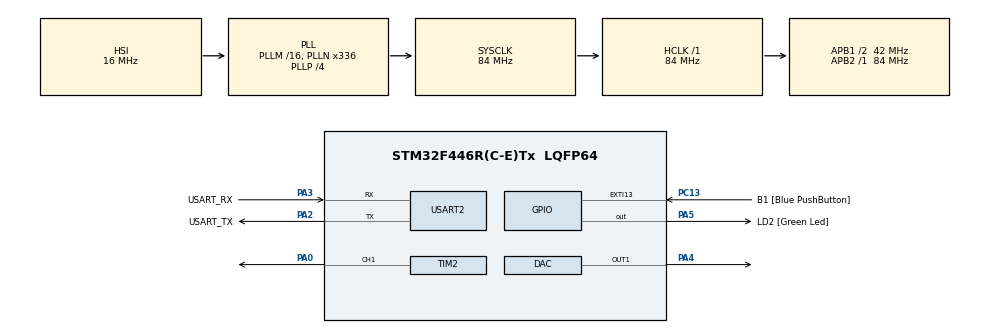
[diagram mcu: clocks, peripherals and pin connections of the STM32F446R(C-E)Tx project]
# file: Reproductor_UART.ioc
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DAC.DAC_Trigger=DAC_TRIGGER_T6_TRGO
Dma.DAC1.0.Direction=DMA_MEMORY_TO_PERIPH
Dma.DAC1.0.FIFOMode=DMA_FIFOMODE_DISABLE
Dma.DAC1.0.Instance=DMA1_Stream5
Dma.DAC1.0.MemDataAlignment=DMA_MDATAALIGN_HALFWORD
Dma.DAC1.0.MemInc=DMA_MINC_ENABLE
Dma.DAC1.0.Mode=DMA_CIRCULAR
Dma.DAC1.0.PeriphDataAlignment=DMA_PDATAALIGN_HALFWORD
Dma.DAC1.0.PeriphInc=DMA_PINC_DISABLE
Dma.DAC1.0.Priority=DMA_PRIORITY_LOW
Dma.Request0=DAC1
Mcu.Family=STM32F4
Mcu.Name=STM32F446R(C-E)Tx
Mcu.Package=LQFP64
NVIC.DMA1_Stream5_IRQn=true\:0\:0\:false\:false\:true\:false\:true\:true
NVIC.PriorityGroup=NVIC_PRIORITYGROUP_0
NVIC.USART2_IRQn=true\:0\:0\:false\:false\:true\:true\:true\:true
PA0-WKUP.Signal=S_TIM2_CH1_ETR
PA13.GPIO_Label=TMS
PA13.Mode=Serial_Wire
PA13.Signal=SYS_JTMS-SWDIO
PA14.GPIO_Label=TCK
PA14.Mode=Serial_Wire
PA14.Signal=SYS_JTCK-SWCLK
PA2.GPIO_Label=USART_TX
PA2.Mode=Asynchronous
PA2.Signal=USART2_TX
PA3.GPIO_Label=USART_RX
PA3.Mode=Asynchronous
PA3.Signal=USART2_RX
PA4.Signal=COMP_DAC1_group
PA5.GPIO_Label=LD2 [Green Led]
PA5.Signal=GPIO_Output
PB3.GPIO_Label=SWO
PB3.Signal=SYS_JTDO-SWO
PC13.GPIO_Label=B1 [Blue PushButton]
PC13.GPIO_ModeDefaultEXTI=GPIO_MODE_IT_FALLING
PC13.Signal=GPXTI13
PC14-OSC32_IN.Mode=LSE-External-Oscillator
PC14-OSC32_IN.Signal=RCC_OSC32_IN
PC15-OSC32_OUT.Mode=LSE-External-Oscillator
PC15-OSC32_OUT.Signal=RCC_OSC32_OUT
PH0-OSC_IN.Mode=HSE-External-Oscillator
PH0-OSC_IN.Signal=RCC_OSC_IN
PH1-OSC_OUT.Mode=HSE-External-Oscillator
PH1-OSC_OUT.Signal=RCC_OSC_OUT
ProjectManager.HeapSize=0x200
ProjectManager.StackSize=0x400
ProjectManager.TargetToolchain=STM32CubeIDE
RCC.48MHZClocksFreq_Value=84000000
RCC.AHBFreq_Value=84000000
RCC.APB1CLKDivider=RCC_HCLK_DIV2
RCC.APB1Freq_Value=42000000
RCC.APB1TimFreq_Value=84000000
RCC.APB2Freq_Value=84000000
RCC.APB2TimFreq_Value=84000000
RCC.CortexFreq_Value=84000000
RCC.FLatency-AdvancedSettings=FLASH_LATENCY_2
RCC.HCLKFreq_Value=84000000
RCC.HSE_VALUE=8000000
RCC.HSI_VALUE=16000000
RCC.PLLN=336
RCC.PLLP=RCC_PLLP_DIV4
RCC.SYSCLKFreq_VALUE=84000000
RCC.SYSCLKSource=RCC_SYSCLKSOURCE_PLLCLK
RCC.USBFreq_Value=168000000
RCC.VCOOutputFreq_Value=336000000
SH.COMP_DAC1_group.0=DAC_OUT1,DAC_OUT1
SH.S_TIM2_CH1_ETR.0=TIM2_CH1,PWM Generation1 CH1
TIM2.Channel-PWM\ Generation1\ CH1=TIM_CHANNEL_1
TIM2.Period=100-1
TIM2.Pulse-PWM\ Generation1\ CH1=50
TIM6.TIM_MasterOutputTrigger=TIM_TRGO_UPDATE
USART2.VirtualMode=VM_ASYNC
VP_TIM2_VS_ClockSourceINT.Mode=Internal
VP_TIM6_VS_ClockSourceINT.Mode=Enable_Timer
board=NUCLEO-F446RE

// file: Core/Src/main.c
/* USER CODE BEGIN Header */
/**
  ******************************************************************************
  * @file           : main.c
  * @brief          : Main program body
  ******************************************************************************
  * @attention
  *
  * Copyright (c) 2026 STMicroelectronics.
  * All rights reserved.
  *
  * This software is licensed under terms that can be found in the LICENSE file
  * in the root directory of this software component.
  * If no LICENSE file comes with this software, it is provided AS-IS.
  *
  ******************************************************************************
  */
/* USER CODE END Header */
#include "main.h"

/* USER CODE BEGIN Includes */
#include <stdio.h>
#include <string.h>
#include <stdint.h>
/* USER CODE END Includes */

/* USER CODE BEGIN PTD */
typedef struct
{
    uint32_t freq;
    uint32_t duration;
} Note_t;

typedef enum
{
    MODE_STOP = 0,
    MODE_PWM  = 1,
    MODE_DAC  = 2
} PlayerMode_t;
/* USER CODE END PTD */

/* USER CODE BEGIN PD */
#define NOTE_C4  262
#define NOTE_D4  294
#define NOTE_E4  330
#define NOTE_F4  349
#define NOTE_G4  392
#define NOTE_A4  440
#define NOTE_B4  494

#define NOTE_C5  523
#define NOTE_D5  587
#define NOTE_E5  659
#define NOTE_F5  698
#define NOTE_G5  784
#define NOTE_A5  880
#define NOTE_B5  988

#define REST              0
#define GAP_MS 5
#define DAC_SAMPLES       32
#define TIMER6_CLK_HZ     84000000UL   // con tu configuración actual
#define PWM_REPEATS       2
#define DAC_REPEATS       1
/* USER CODE END PD */

DAC_HandleTypeDef hdac;
DMA_HandleTypeDef hdma_dac1;

TIM_HandleTypeDef htim2;
TIM_HandleTypeDef htim6;

UART_HandleTypeDef huart2;

/* USER CODE BEGIN PV */
uint8_t rxByte;
volatile PlayerMode_t currentMode = MODE_STOP;
volatile uint8_t showMenu = 1;
volatile uint8_t dacRunning = 0;

/* Melodía PWM: la tuya (Mario aprox) */
const Note_t melody_pwm[] =
{
    {NOTE_E5, 180}, {NOTE_E5, 180}, {REST, 80},  {NOTE_E5, 180},
    {REST, 80},     {NOTE_C5, 180}, {NOTE_E5, 180}, {NOTE_G5, 320},
    {REST, 200},

    {NOTE_G4, 180}, {REST, 200}, {NOTE_C5, 180}, {REST, 80},
    {NOTE_G4, 180}, {REST, 80},  {NOTE_E4, 180}, {REST, 80},

    {NOTE_A4, 180}, {NOTE_B4, 180}, {NOTE_A4, 180}, {NOTE_G4, 180},
    {NOTE_E5, 180}, {NOTE_G5, 180}, {NOTE_A5, 220}, {REST, 120},

    {NOTE_F5, 180}, {NOTE_G5, 180}, {REST, 80},  {NOTE_E5, 180},
    {REST, 80},     {NOTE_C5, 180}, {NOTE_D5, 180}, {NOTE_B4, 220},
    {REST, 200}
};

const uint32_t melody_pwm_len = sizeof(melody_pwm) / sizeof(melody_pwm[0]);

/* Melodía DAC: distinta */
const Note_t melody_dac[] =
{
    {NOTE_E4, 250}, {NOTE_E4, 250}, {NOTE_F4, 250}, {NOTE_G4, 250},
    {NOTE_G4, 250}, {NOTE_F4, 250}, {NOTE_E4, 250}, {NOTE_D4, 250},
    {NOTE_C4, 250}, {NOTE_C4, 250}, {NOTE_D4, 250}, {NOTE_E4, 250},
    {NOTE_E4, 375}, {NOTE_D4, 125}, {NOTE_D4, 500},

    {NOTE_E4, 250}, {NOTE_E4, 250}, {NOTE_F4, 250}, {NOTE_G4, 250},
    {NOTE_G4, 250}, {NOTE_F4, 250}, {NOTE_E4, 250}, {NOTE_D4, 250},
    {NOTE_C4, 250}, {NOTE_C4, 250}, {NOTE_D4, 250}, {NOTE_E4, 250},
    {NOTE_D4, 375}, {NOTE_C4, 125}, {NOTE_C4, 500}
};

const uint32_t melody_dac_len = sizeof(melody_dac) / sizeof(melody_dac[0]);

/* Tabla seno de 32 muestras para el DAC */
const uint16_t sineLUT[DAC_SAMPLES] =
{
    2048,2399,2737,3048,3321,3545,3711,3813,
    3848,3813,3711,3545,3321,3048,2737,2399,
    2048,1697,1359,1048,775,551,385,283,
    248,283,385,551,775,1048,1359,1697
};
/* USER CODE END PV */

void SystemClock_Config(void);
static void MX_GPIO_Init(void);
static void MX_DMA_Init(void);
static void MX_TIM2_Init(void);
static void MX_USART2_UART_Init(void);
static void MX_DAC_Init(void);
static void MX_TIM6_Init(void);

/* USER CODE BEGIN 0 */
/* USER CODE BEGIN 0 */
void SendText(char *txt)
{
    HAL_UART_Transmit(&huart2, (uint8_t*)txt, strlen(txt), 1000);
}

void PrintMenu(void)
{
    char menu[] =
        "\r\n========== REPRODUCTOR ==========\r\n"
        "1 -> Reproducir melodia PWM\r\n"
        "2 -> Reproducir melodia DAC\r\n"
        "0 -> Detener audio\r\n"
        "m -> Mostrar menu otra vez\r\n"
        "================================\r\n";
    SendText(menu);
}

uint8_t WaitMsInterruptible(uint32_t time_ms, PlayerMode_t expectedMode)
{
    uint32_t elapsed = 0;

    while (elapsed < time_ms)
    {
        if (currentMode != expectedMode)
        {
            return 0;
        }

        HAL_Delay(5);
        elapsed += 5;
    }

    return 1;
}

/* ================= PWM ================= */

void PWM_Stop(void)
{
    __HAL_TIM_SET_COMPARE(&htim2, TIM_CHANNEL_1, 0);
}

void Buzzer_SetFrequency(uint32_t freq_hz)
{
    if (freq_hz == 0)
    {
        PWM_Stop();
        return;
    }

    uint32_t arr = (1000000UL / freq_hz) - 1UL;

    __HAL_TIM_SET_AUTORELOAD(&htim2, arr);
    __HAL_TIM_SET_COMPARE(&htim2, TIM_CHANNEL_1, (arr + 1UL) / 2UL);
    __HAL_TIM_SET_COUNTER(&htim2, 0);
}

void PlaySongPWM(const Note_t *song, uint32_t length, uint8_t repeats)
{
    for (uint8_t r = 0; r < repeats; r++)
    {
        for (uint32_t i = 0; i < length; i++)
        {
            if (currentMode != MODE_PWM)
            {
                PWM_Stop();
                return;
            }

            Buzzer_SetFrequency(song[i].freq);

            if (!WaitMsInterruptible(song[i].duration, MODE_PWM))
            {
                PWM_Stop();
                return;
            }

            PWM_Stop();

            if (!WaitMsInterruptible(GAP_MS, MODE_PWM))
            {
                PWM_Stop();
                return;
            }
        }
    }

    PWM_Stop();
}

/* ================= DAC ================= */

void DAC_Stop(void)
{
    if (dacRunning)
    {
        HAL_TIM_Base_Stop(&htim6);
        HAL_DAC_Stop_DMA(&hdac, DAC_CHANNEL_1);
        dacRunning = 0;
    }
}

void DAC_SetFrequency(uint32_t freq_hz)
{
    if (freq_hz == 0)
    {
        DAC_Stop();
        return;
    }

    uint32_t sample_rate = freq_hz * DAC_SAMPLES;
    uint32_t arr = (TIMER6_CLK_HZ / sample_rate) - 1UL;

    if (arr < 1)
    {
        arr = 1;
    }

    if (arr > 0xFFFF)
    {
        arr = 0xFFFF;
    }

    __HAL_TIM_SET_PRESCALER(&htim6, 0);
    __HAL_TIM_SET_AUTORELOAD(&htim6, arr);
    __HAL_TIM_SET_COUNTER(&htim6, 0);

    if (!dacRunning)
    {
        HAL_DAC_Start_DMA(&hdac, DAC_CHANNEL_1, (uint32_t*)sineLUT, DAC_SAMPLES, DAC_ALIGN_12B_R);
        HAL_TIM_Base_Start(&htim6);
        dacRunning = 1;
    }
}

void PlaySongDAC(const Note_t *song, uint32_t length, uint8_t repeats)
{
    for (uint8_t r = 0; r < repeats; r++)
    {
        for (uint32_t i = 0; i < length; i++)
        {
            if (currentMode != MODE_DAC)
            {
                DAC_Stop();
                return;
            }

            DAC_SetFrequency(song[i].freq);

            if (!WaitMsInterruptible(song[i].duration, MODE_DAC))
            {
                DAC_Stop();
                return;
            }

            DAC_Stop();

            if (!WaitMsInterruptible(GAP_MS, MODE_DAC))
            {
                DAC_Stop();
                return;
            }
        }
    }

    DAC_Stop();
}
/* USER CODE END 0 */

int main(void)
{

  /* MCU Configuration--------------------------------------------------------*/

  /* Reset of all peripherals, Initializes the Flash interface and the Systick. */
  HAL_Init();

  /* Configure the system clock */
  SystemClock_Config();

  /* Initialize all configured peripherals */
  MX_GPIO_Init();
  MX_DMA_Init();
  MX_TIM2_Init();
  MX_USART2_UART_Init();
  MX_DAC_Init();
  MX_TIM6_Init();
  /* USER CODE BEGIN 2 */
  HAL_TIM_PWM_Start(&htim2, TIM_CHANNEL_1);
  HAL_UART_Receive_IT(&huart2, &rxByte, 1);
  PrintMenu();

  /* USER CODE END 2 */

  /* Infinite loop */
  /* USER CODE BEGIN WHILE */
  while (1)
  {
	  if (showMenu)
	        {
	            PrintMenu();
	            showMenu = 0;
	        }

	        switch (currentMode)
	        {
	            case MODE_PWM:
	                PlaySongPWM(melody_pwm, melody_pwm_len, PWM_REPEATS);
	                if (currentMode == MODE_PWM)
	                {
	                    currentMode = MODE_STOP;
	                    showMenu = 1;
	                }
	                break;

	            case MODE_DAC:
	                PlaySongDAC(melody_dac, melody_dac_len, DAC_REPEATS);
	                if (currentMode == MODE_DAC)
	                {
	                    currentMode = MODE_STOP;
	                    showMenu = 1;
	                }
	                break;

	            case MODE_STOP:
	            default:
	                PWM_Stop();
	                DAC_Stop();
	                HAL_Delay(10);
	                break;
	        }
	    }
    /* USER CODE END WHILE */

  }

void SystemClock_Config(void)
{
  RCC_OscInitTypeDef RCC_OscInitStruct = {0};
  RCC_ClkInitTypeDef RCC_ClkInitStruct = {0};

  /** Configure the main internal regulator output voltage
  */
  __HAL_RCC_PWR_CLK_ENABLE();
  __HAL_PWR_VOLTAGESCALING_CONFIG(PWR_REGULATOR_VOLTAGE_SCALE3);

  /** Initializes the RCC Oscillators according to the specified parameters
  * in the RCC_OscInitTypeDef structure.
  */
  RCC_OscInitStruct.OscillatorType = RCC_OSCILLATORTYPE_HSI;
  RCC_OscInitStruct.HSIState = RCC_HSI_ON;
  RCC_OscInitStruct.HSICalibrationValue = RCC_HSICALIBRATION_DEFAULT;
  RCC_OscInitStruct.PLL.PLLState = RCC_PLL_ON;
  RCC_OscInitStruct.PLL.PLLSource = RCC_PLLSOURCE_HSI;
  RCC_OscInitStruct.PLL.PLLM = 16;
  RCC_OscInitStruct.PLL.PLLN = 336;
  RCC_OscInitStruct.PLL.PLLP = RCC_PLLP_DIV4;
  RCC_OscInitStruct.PLL.PLLQ = 2;
  RCC_OscInitStruct.PLL.PLLR = 2;
  if (HAL_RCC_OscConfig(&RCC_OscInitStruct) != HAL_OK)
  {
    Error_Handler();
  }

  /** Initializes the CPU, AHB and APB buses clocks
  */
  RCC_ClkInitStruct.ClockType = RCC_CLOCKTYPE_HCLK|RCC_CLOCKTYPE_SYSCLK
                              |RCC_CLOCKTYPE_PCLK1|RCC_CLOCKTYPE_PCLK2;
  RCC_ClkInitStruct.SYSCLKSource = RCC_SYSCLKSOURCE_PLLCLK;
  RCC_ClkInitStruct.AHBCLKDivider = RCC_SYSCLK_DIV1;
  RCC_ClkInitStruct.APB1CLKDivider = RCC_HCLK_DIV2;
  RCC_ClkInitStruct.APB2CLKDivider = RCC_HCLK_DIV1;

  if (HAL_RCC_ClockConfig(&RCC_ClkInitStruct, FLASH_LATENCY_2) != HAL_OK)
  {
    Error_Handler();
  }
}

static void MX_DAC_Init(void)
{

  DAC_ChannelConfTypeDef sConfig = {0};

  /** DAC Initialization
  */
  hdac.Instance = DAC;
  if (HAL_DAC_Init(&hdac) != HAL_OK)
  {
    Error_Handler();
  }

  /** DAC channel OUT1 config
  */
  sConfig.DAC_Trigger = DAC_TRIGGER_T6_TRGO;
  sConfig.DAC_OutputBuffer = DAC_OUTPUTBUFFER_ENABLE;
  if (HAL_DAC_ConfigChannel(&hdac, &sConfig, DAC_CHANNEL_1) != HAL_OK)
  {
    Error_Handler();
  }

}

static void MX_TIM2_Init(void)
{

  TIM_ClockConfigTypeDef sClockSourceConfig = {0};
  TIM_MasterConfigTypeDef sMasterConfig = {0};
  TIM_OC_InitTypeDef sConfigOC = {0};

  htim2.Instance = TIM2;
  htim2.Init.Prescaler = 83;
  htim2.Init.CounterMode = TIM_COUNTERMODE_UP;
  htim2.Init.Period = 100-1;
  htim2.Init.ClockDivision = TIM_CLOCKDIVISION_DIV1;
  htim2.Init.AutoReloadPreload = TIM_AUTORELOAD_PRELOAD_DISABLE;
  if (HAL_TIM_Base_Init(&htim2) != HAL_OK)
  {
    Error_Handler();
  }
  sClockSourceConfig.ClockSource = TIM_CLOCKSOURCE_INTERNAL;
  if (HAL_TIM_ConfigClockSource(&htim2, &sClockSourceConfig) != HAL_OK)
  {
    Error_Handler();
  }
  if (HAL_TIM_PWM_Init(&htim2) != HAL_OK)
  {
    Error_Handler();
  }
  sMasterConfig.MasterOutputTrigger = TIM_TRGO_RESET;
  sMasterConfig.MasterSlaveMode = TIM_MASTERSLAVEMODE_DISABLE;
  if (HAL_TIMEx_MasterConfigSynchronization(&htim2, &sMasterConfig) != HAL_OK)
  {
    Error_Handler();
  }
  sConfigOC.OCMode = TIM_OCMODE_PWM1;
  sConfigOC.Pulse = 50;
  sConfigOC.OCPolarity = TIM_OCPOLARITY_HIGH;
  sConfigOC.OCFastMode = TIM_OCFAST_DISABLE;
  if (HAL_TIM_PWM_ConfigChannel(&htim2, &sConfigOC, TIM_CHANNEL_1) != HAL_OK)
  {
    Error_Handler();
  }
  HAL_TIM_MspPostInit(&htim2);

}

static void MX_TIM6_Init(void)
{

  TIM_MasterConfigTypeDef sMasterConfig = {0};

  htim6.Instance = TIM6;
  htim6.Init.Prescaler = 0;
  htim6.Init.CounterMode = TIM_COUNTERMODE_UP;
  htim6.Init.Period = 65535;
  htim6.Init.AutoReloadPreload = TIM_AUTORELOAD_PRELOAD_DISABLE;
  if (HAL_TIM_Base_Init(&htim6) != HAL_OK)
  {
    Error_Handler();
  }
  sMasterConfig.MasterOutputTrigger = TIM_TRGO_UPDATE;
  sMasterConfig.MasterSlaveMode = TIM_MASTERSLAVEMODE_DISABLE;
  if (HAL_TIMEx_MasterConfigSynchronization(&htim6, &sMasterConfig) != HAL_OK)
  {
    Error_Handler();
  }

}

static void MX_USART2_UART_Init(void)
{

  huart2.Instance = USART2;
  huart2.Init.BaudRate = 115200;
  huart2.Init.WordLength = UART_WORDLENGTH_8B;
  huart2.Init.StopBits = UART_STOPBITS_1;
  huart2.Init.Parity = UART_PARITY_NONE;
  huart2.Init.Mode = UART_MODE_TX_RX;
  huart2.Init.HwFlowCtl = UART_HWCONTROL_NONE;
  huart2.Init.OverSampling = UART_OVERSAMPLING_16;
  if (HAL_UART_Init(&huart2) != HAL_OK)
  {
    Error_Handler();
  }

}

static void MX_DMA_Init(void)
{

  /* DMA controller clock enable */
  __HAL_RCC_DMA1_CLK_ENABLE();

  /* DMA interrupt init */
  /* DMA1_Stream5_IRQn interrupt configuration */
  HAL_NVIC_SetPriority(DMA1_Stream5_IRQn, 0, 0);
  HAL_NVIC_EnableIRQ(DMA1_Stream5_IRQn);

}

static void MX_GPIO_Init(void)
{
  GPIO_InitTypeDef GPIO_InitStruct = {0};

  /* GPIO Ports Clock Enable */
  __HAL_RCC_GPIOC_CLK_ENABLE();
  __HAL_RCC_GPIOH_CLK_ENABLE();
  __HAL_RCC_GPIOA_CLK_ENABLE();
  __HAL_RCC_GPIOB_CLK_ENABLE();

  /*Configure GPIO pin Output Level */
  HAL_GPIO_WritePin(LD2_GPIO_Port, LD2_Pin, GPIO_PIN_RESET);

  /*Configure GPIO pin : B1_Pin */
  GPIO_InitStruct.Pin = B1_Pin;
  GPIO_InitStruct.Mode = GPIO_MODE_IT_FALLING;
  GPIO_InitStruct.Pull = GPIO_NOPULL;
  HAL_GPIO_Init(B1_GPIO_Port, &GPIO_InitStruct);

  /*Configure GPIO pin : LD2_Pin */
  GPIO_InitStruct.Pin = LD2_Pin;
  GPIO_InitStruct.Mode = GPIO_MODE_OUTPUT_PP;
  GPIO_InitStruct.Pull = GPIO_NOPULL;
  GPIO_InitStruct.Speed = GPIO_SPEED_FREQ_LOW;
  HAL_GPIO_Init(LD2_GPIO_Port, &GPIO_InitStruct);

}

/* USER CODE BEGIN 4 */
void HAL_UART_RxCpltCallback(UART_HandleTypeDef *huart)
{
    if (huart->Instance == USART2)
    {
        switch (rxByte)
        {
            case '1':
                currentMode = MODE_PWM;
                SendText("\r\nPWM seleccionado\r\n");
                break;

            case '2':
                currentMode = MODE_DAC;
                SendText("\r\nDAC seleccionado\r\n");
                break;

            case '0':
                currentMode = MODE_STOP;
                SendText("\r\nAudio detenido\r\n");
                break;

            case 'm':
            case 'M':
                showMenu = 1;
                break;

            default:
                SendText("\r\nComando invalido\r\n");
                showMenu = 1;
                break;
        }

        HAL_UART_Receive_IT(&huart2, &rxByte, 1);
    }
}
/* USER CODE END 4 */

void Error_Handler(void)
{
  __disable_irq();
  while (1)
  {
  }
}
